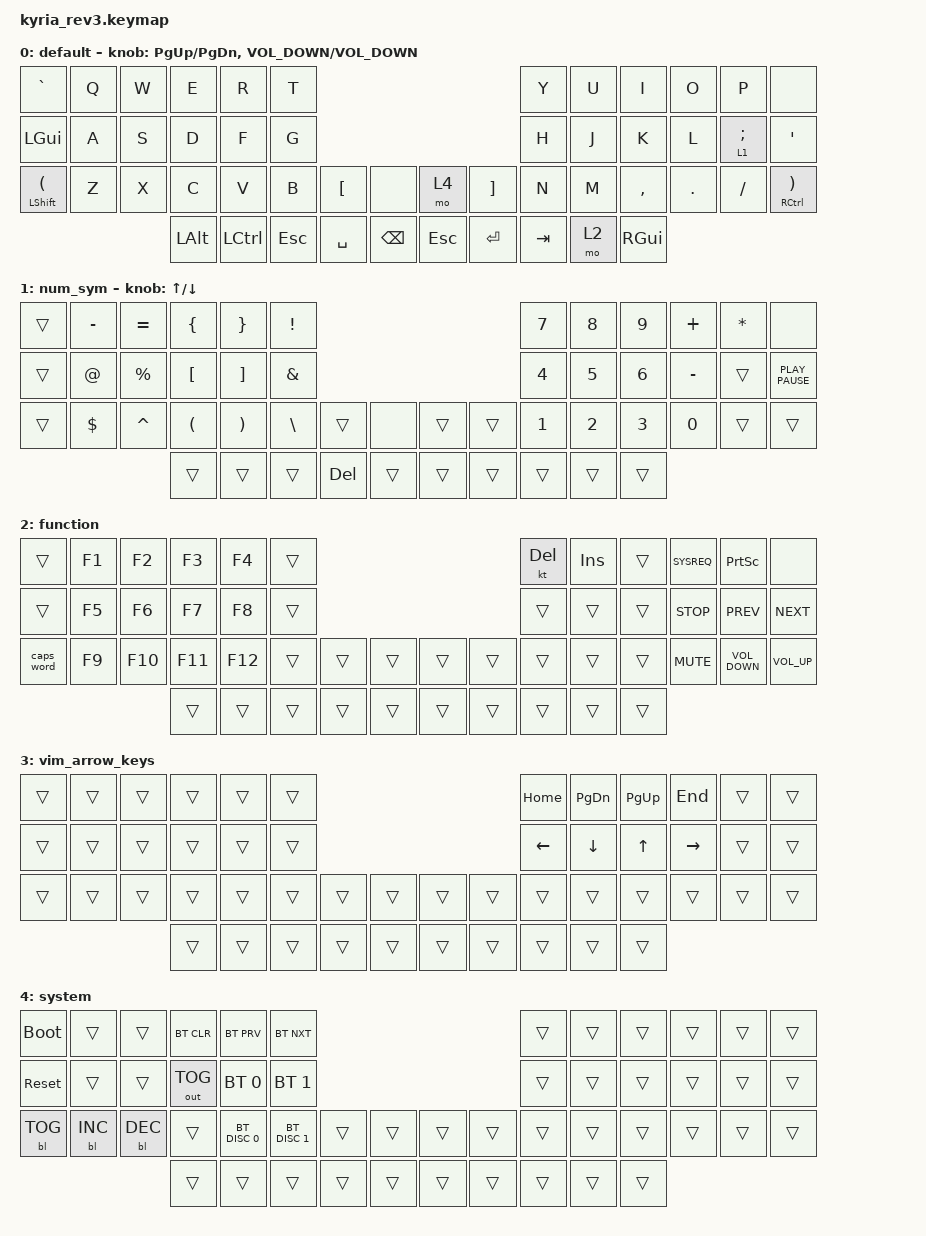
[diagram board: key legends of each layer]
/*
 * vim: syntax=c
 * Copyright (c) 2023 The ZMK Contributors
 *
 * SPDX-License-Identifier: MIT
 */

#include <behaviors.dtsi>
#include <dt-bindings/zmk/backlight.h>
#include <dt-bindings/zmk/bt.h>
#include <dt-bindings/zmk/keys.h>
#include <dt-bindings/zmk/outputs.h>

/* Uncomment this block if using RGB
&led_strip {
    chain-length = <6>;
    // chain-length = <31>; // Uncomment if using both per-key and underglow LEDs
    // chain-length = <25>; // Uncomment if using only per-key LEDs.
};
 */

/ {
    behaviors {
        gravesc: gravesc {
            compatible = "zmk,behavior-tap-dance";
            label = "GRAVESC";
            #binding-cells = <0>;
            bindings = <&kp ESC>, <&kp GRAVE>;
        };
    };

    combos {
        compatible = "zmk,combos";

        vim-arrows {
            bindings = <&mo 3>;
            key-positions = <3 4>;
        };

        left_num_sym {
            bindings = <&mo 1>;
            key-positions = <15 16>;
        };

        right_num_sym {
            bindings = <&mo 1>;
            key-positions = <19 20>;
        };

        play_pause {
            bindings = <&kp K_PLAY_PAUSE>;
            key-positions = <39 23>;
        };
    };

    keymap {
        compatible = "zmk,keymap";

        default_qwerty {
            // ---------------------------------------------------------------------------------------------------------------------------------
            // |  ESC  |  Q  |  W  |  E   |  R   |  T   |                                          |  Y   |  U    |  I    |  O   |   P   |   \  |
            // |  TAB  |  A  |  S  |  D   |  F   |  G   |                                          |  H   |  J    |  K    |  L   |   ;   |   '  |
            // | SHIFT |  Z  |  X  |  C   |  V   |  B   | L SHIFT | L SHIFT |  | LAYER 1 | L SHIFT |  N   |  M    |  ,    |  .   |   /   | CTRL |
            //                     | GUI  | DEL  | RET  |  SPACE  |   ESC   |  |   RET   |  SPACE  | TAB  | BSPC  | R-ALT |

            bindings = <
&kp GRAVE                   &kp Q  &kp W  &kp E         &kp R      &kp T                                                                    &kp Y    &kp U  &kp I          &kp O    &kp P            &none
&kp LEFT_GUI                &kp A  &kp S  &kp D         &kp F      &kp G                                                                    &kp H    &kp J  &kp K          &kp L    &lt 1 SEMICOLON  &kp SQT
&mt LSHFT LEFT_PARENTHESIS  &kp Z  &kp X  &kp C         &kp V      &kp B    &kp LEFT_BRACKET  &none          &mo 4       &kp RIGHT_BRACKET  &kp N    &kp M  &kp COMMA      &kp DOT  &kp FSLH         &mt RCTRL RIGHT_PARENTHESIS
                                          &kp LEFT_ALT  &kp LCTRL  &kp ESC  &kp SPACE         &kp BACKSPACE  &kp ESCAPE  &kp RET            &kp TAB  &mo 2  &kp RIGHT_GUI
            >;

            sensor-bindings =
                <&inc_dec_kp PAGE_UP PAGE_DOWN>,
                <&inc_dec_kp C_VOLUME_DOWN C_VOLUME_DOWN>;

            label = "default";
        };

        num_sym {
            bindings = <
&trans  &kp MINUS    &kp EQUAL    &kp LEFT_BRACE        &kp RIGHT_BRACE        &kp EXCLAMATION                                   &kp N7  &kp N8  &kp N9  &kp PLUS   &kp ASTERISK  &none
&trans  &kp AT_SIGN  &kp PERCENT  &kp LEFT_BRACKET      &kp RIGHT_BRACKET      &kp AMPERSAND                                     &kp N4  &kp N5  &kp N6  &kp MINUS  &trans        &kp K_PLAY_PAUSE
&trans  &kp DOLLAR   &kp CARET    &kp LEFT_PARENTHESIS  &kp RIGHT_PARENTHESIS  &kp BACKSLASH    &trans   &none   &trans  &trans  &kp N1  &kp N2  &kp N3  &kp N0     &trans        &trans
                                  &trans                &trans                 &trans           &kp DEL  &trans  &trans  &trans  &trans  &trans  &trans
            >;

            sensor-bindings = <&inc_dec_kp UP_ARROW DOWN_ARROW>;
        };

        function {
            bindings = <
&trans      &kp F1  &kp F2   &kp F3   &kp F4   &trans                                  &kt DEL  &kp INSERT  &trans  &kp SYSREQ  &kp PRINTSCREEN    &none
&trans      &kp F5  &kp F6   &kp F7   &kp F8   &trans                                  &trans   &trans      &trans  &kp K_STOP  &kp K_PREV         &kp K_NEXT
&caps_word  &kp F9  &kp F10  &kp F11  &kp F12  &trans  &trans  &trans  &trans  &trans  &trans   &trans      &trans  &kp K_MUTE  &kp C_VOLUME_DOWN  &kp C_VOLUME_UP
                             &trans   &trans   &trans  &trans  &trans  &trans  &trans  &trans   &trans      &trans
            >;
        };

        vim_arrow_keys {
            bindings = <
&trans  &trans  &trans  &trans  &trans  &trans                                  &kp HOME  &kp PAGE_DOWN  &kp PAGE_UP  &kp END    &trans  &trans
&trans  &trans  &trans  &trans  &trans  &trans                                  &kp LEFT  &kp DOWN       &kp UP       &kp RIGHT  &trans  &trans
&trans  &trans  &trans  &trans  &trans  &trans  &trans  &trans  &trans  &trans  &trans    &trans         &trans       &trans     &trans  &trans
                        &trans  &trans  &trans  &trans  &trans  &trans  &trans  &trans    &trans         &trans
            >;
        };

        system {
            // ---------------------------------------------------------------------------------------------------------------------------------
            // |       |      |BT_CLR|BTSEL0|BTSEL1|BTSEL2|                                         |      |      |      |      |      |      |
            // |       |      |      |BTSEL3|BTSEL4|      |                                         |      |      |      |      |      |      |
            // |       |      |      |      |      |      |      |      |      |      |      |      |      |      |      |      |      |      |
            //                       |      |      |      |      |      |      |      |      |      |      |      |      |

            bindings = <
&bootloader  &trans      &trans      &bt BT_CLR    &bt BT_PRV     &bt BT_NXT                                     &trans  &trans  &trans  &trans  &trans  &trans
&sys_reset   &trans      &trans      &out OUT_TOG  &bt BT_SEL 0   &bt BT_SEL 1                                   &trans  &trans  &trans  &trans  &trans  &trans
&bl BL_TOG   &bl BL_INC  &bl BL_DEC  &trans        &bt BT_DISC 0  &bt BT_DISC 1  &trans  &trans  &trans  &trans  &trans  &trans  &trans  &trans  &trans  &trans
                                     &trans        &trans         &trans         &trans  &trans  &trans  &trans  &trans  &trans  &trans
            >;
        };
    };
};
